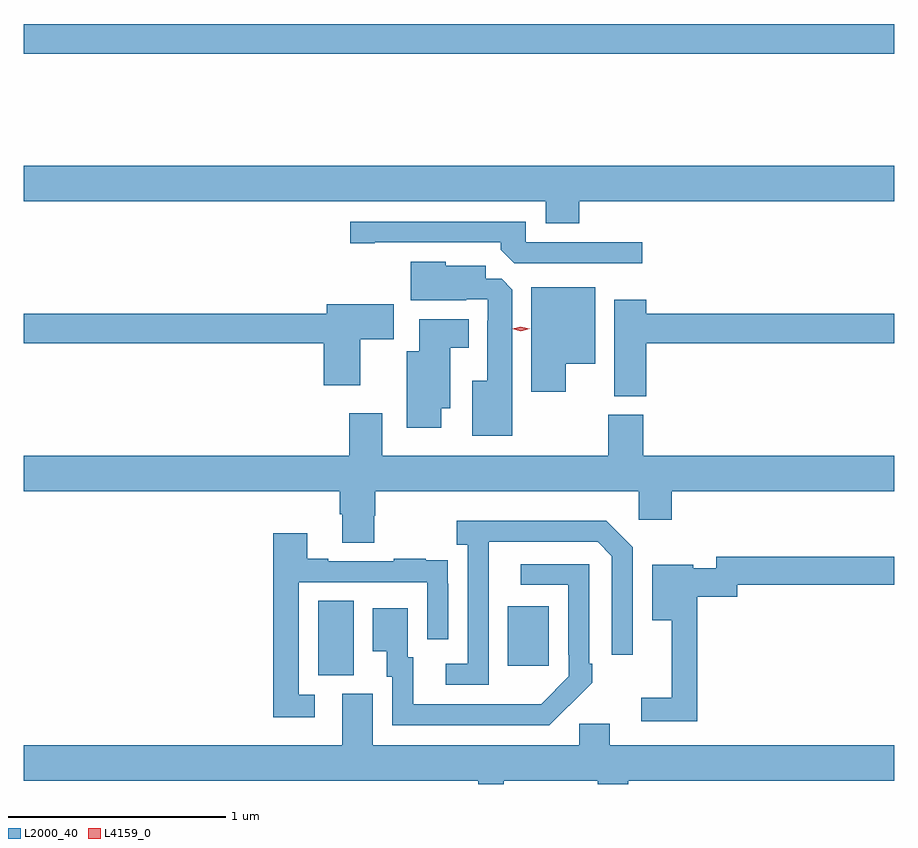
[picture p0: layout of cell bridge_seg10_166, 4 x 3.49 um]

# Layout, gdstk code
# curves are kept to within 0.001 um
import gdstk
lib = gdstk.Library(unit=1e-6, precision=1e-09)
def R(c, l, rs):  # rectangles x0, y0, x1, y1
    for r in rs: c.add(gdstk.rectangle(r[:2], r[2:], *l))
def P(c, l, *ps):  # polygons
    for p in ps: c.add(gdstk.Polygon(p, *l))
L2000_40 = (2000, 40)
L4159_0 = (4159, 0)

bridge_seg10_166 = lib.new_cell('bridge_seg10_166')
R(bridge_seg10_166, L2000_40, [(230.144,1275.493,230.308,1275.836), (231.017,1275.537,231.205,1275.811), (228.792,1278.352,232.792,1278.488)])
P(bridge_seg10_166, L2000_40, [(231.344,1277.672),(232.792,1277.672),(232.792,1277.836),(228.792,1277.836),(228.792,1277.672),(231.191,1277.672),(231.191,1277.573),(231.344,1277.573)],
  [(231.634,1277.484),(231.099,1277.484),(231.099,1277.58),(230.292,1277.58),(230.292,1277.479),(230.404,1277.479),(230.404,1277.484),(230.984,1277.484),(230.984,1277.45),(231.045,1277.388),(231.634,1277.388)],
  [(231.037,1277.267),(230.988,1277.316),(230.914,1277.316),(230.914,1277.377),(230.73,1277.377),(230.73,1277.395),(230.57,1277.395),(230.57,1277.219),(230.825,1277.219),(230.825,1277.223),(230.925,1277.223),(230.925,1277.123),(230.921,1277.123),(230.921,1276.849),(230.852,1276.849),(230.852,1276.595),(231.037,1276.595)],
  [(231.283,1276.925),(231.418,1276.925),(231.418,1277.278),(231.125,1277.278),(231.125,1276.797),(231.283,1276.797)],
  [(231.653,1277.02),(232.792,1277.02),(232.792,1277.156),(231.653,1277.156),(231.653,1277.221),(231.506,1277.221),(231.506,1276.777),(231.653,1276.777)],
  [(230.338,1277.038),(230.491,1277.038),(230.491,1277.2),(230.183,1277.2),(230.183,1277.156),(228.792,1277.156),(228.792,1277.02),(230.171,1277.02),(230.171,1276.827),(230.338,1276.827)],
  [(230.71,1276.721),(230.752,1276.721),(230.752,1277),(230.836,1277),(230.836,1277.131),(230.609,1277.131),(230.609,1276.984),(230.552,1276.984),(230.552,1276.632),(230.71,1276.632)],
  [(230.403,1276.227),(230.408,1276.227),(230.408,1276.34),(231.618,1276.34),(231.618,1276.209),(231.77,1276.209),(231.77,1276.34),(232.792,1276.34),(232.792,1276.504),(231.638,1276.504),(231.638,1276.692),(231.478,1276.692),(231.478,1276.504),(230.44,1276.504),(230.44,1276.699),(230.288,1276.699),(230.288,1276.504),(228.792,1276.504),(228.792,1276.34),(230.243,1276.34),(230.243,1276.234),(230.255,1276.234),(230.255,1276.102),(230.403,1276.102)],
  [(230.928,1275.907),(230.929,1276.107),(231.429,1276.107),(231.495,1276.041),(231.495,1275.588),(231.591,1275.588),(231.591,1276.083),(231.47,1276.204),(230.781,1276.204),(230.781,1276.094),(230.832,1276.094),(230.832,1275.546),(230.73,1275.546),(230.73,1275.45),(230.928,1275.45)],
  [(230.128,1275.405),(230.055,1275.405),(230.055,1275.921),(230.646,1275.921),(230.646,1275.66),(230.742,1275.66),(230.742,1275.914),(230.741,1275.914),(230.741,1276.023),(230.639,1276.023),(230.639,1276.03),(230.491,1276.03),(230.491,1276.017),(230.191,1276.017),(230.191,1276.03),(230.095,1276.03),(230.095,1276.147),(229.939,1276.147),(229.939,1275.3),(230.128,1275.3)],
  [(231.887,1275.856),(232.071,1275.856),(232.071,1275.91),(232.792,1275.91),(232.792,1276.039),(231.975,1276.039),(231.975,1275.985),(231.868,1275.985),(231.868,1276.003),(231.68,1276.003),(231.68,1275.746),(231.77,1275.746),(231.77,1275.391),(231.63,1275.391),(231.63,1275.282),(231.887,1275.282)],
  [(231.299,1275.355),(231.3,1275.354),(231.405,1275.459),(231.405,1275.547),(231.39,1275.547),(231.39,1276.005),(231.075,1276.005),(231.075,1275.909),(231.294,1275.909),(231.294,1275.589),(231.297,1275.589),(231.297,1275.489),(231.169,1275.361),(230.581,1275.36),(230.581,1275.576),(230.557,1275.576),(230.557,1275.802),(230.396,1275.802),(230.396,1275.605),(230.459,1275.605),(230.459,1275.486),(230.484,1275.486),(230.484,1275.264),(231.208,1275.264)],
  [(230.997,1275.008),(231.431,1275.008),(231.431,1274.994),(231.571,1274.994),(231.571,1275.008),(232.792,1275.008),(232.792,1275.172),(231.484,1275.172),(231.484,1275.27),(231.345,1275.27),(231.345,1275.172),(230.395,1275.172),(230.395,1275.408),(230.255,1275.408),(230.255,1275.172),(228.792,1275.172),(228.792,1275.008),(230.881,1275.008),(230.881,1274.994),(230.997,1274.994)])
P(bridge_seg10_166, L4159_0, [(231.077,1277.076),(231.036,1277.086),(231.036,1277.086),(231.036,1277.087),(231.077,1277.096),(231.118,1277.087),(231.118,1277.086),(231.118,1277.086)])

lib.write_gds('bridge_seg10_166.gds')
